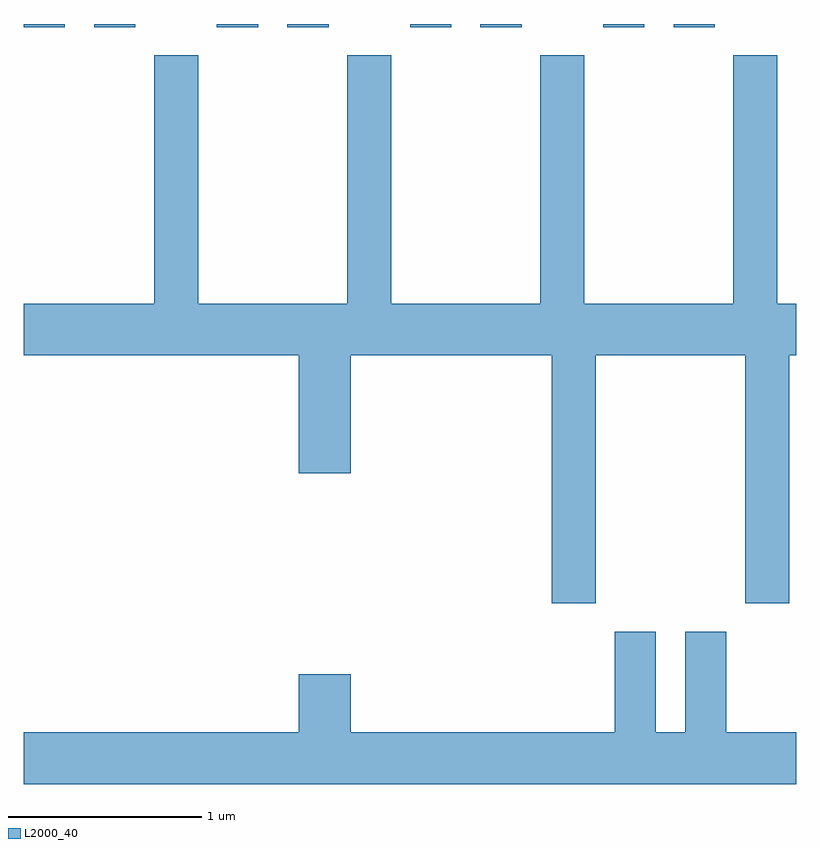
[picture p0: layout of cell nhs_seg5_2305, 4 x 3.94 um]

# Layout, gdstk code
import gdstk
lib = gdstk.Library(unit=1e-6, precision=1e-09)
def R(c, l, rs):  # rectangles x0, y0, x1, y1
    for r in rs: c.add(gdstk.rectangle(r[:2], r[2:], *l))
def P(c, l, *ps):  # polygons
    for p in ps: c.add(gdstk.Polygon(p, *l))
L2000_40 = (2000, 40)

nhs_seg5_2305 = lib.new_cell('nhs_seg5_2305')
R(nhs_seg5_2305, L2000_40, [(253.611,1454.056,253.824,1454.072), (253.976,1454.056,254.189,1454.072), (254.611,1454.056,254.824,1454.072), (254.976,1454.056,255.189,1454.072), (255.611,1454.056,255.824,1454.072), (255.976,1454.056,256.189,1454.072), (256.611,1454.056,256.824,1454.072), (256.976,1454.056,257.189,1454.072)])
P(nhs_seg5_2305, L2000_40, [(256.574,1452.356),(257.346,1452.356),(257.346,1451.071),(257.574,1451.071),(257.574,1452.356),(257.611,1452.356),(257.611,1452.624),(257.514,1452.624),(257.514,1453.909),(257.286,1453.909),(257.286,1452.624),(256.514,1452.624),(256.514,1453.909),(256.286,1453.909),(256.286,1452.624),(255.514,1452.624),(255.514,1453.909),(255.286,1453.909),(255.286,1452.624),(254.514,1452.624),(254.514,1453.909),(254.286,1453.909),(254.286,1452.624),(253.611,1452.624),(253.611,1452.356),(255.036,1452.356),(255.036,1451.746),(255.304,1451.746),(255.304,1452.356),(256.346,1452.356),(256.346,1451.071),(256.574,1451.071)],
  [(257.611,1450.404),(257.249,1450.404),(257.249,1450.924),(257.036,1450.924),(257.036,1450.404),(256.884,1450.404),(256.884,1450.924),(256.671,1450.924),(256.671,1450.404),(255.304,1450.404),(255.304,1450.704),(255.036,1450.704),(255.036,1450.404),(253.611,1450.404),(253.611,1450.136),(257.611,1450.136)])

lib.write_gds('nhs_seg5_2305.gds')
